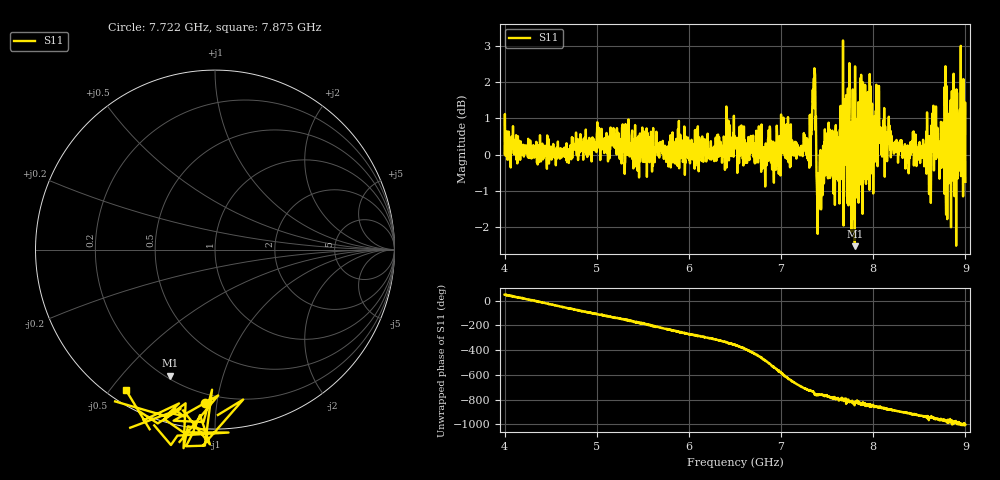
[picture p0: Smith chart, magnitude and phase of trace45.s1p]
! Created with skrf 1.8.0 (http://scikit-rf.org).
# Hz S RI R 50.0
!freq ReS11 ImS11
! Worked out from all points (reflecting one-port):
!   1601 points, 4 GHz to 9 GHz, reference 50 ohm
!   lowest |S11| = -2.5 dB at 7.8 GHz (marker M1), VSWR 6.88, Z = 10.8 - j34.2 ohm
!   phase of S11 starts at 50 deg and turns -1052 deg over the sweep
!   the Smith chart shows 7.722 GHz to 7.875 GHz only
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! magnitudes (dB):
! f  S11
! 4 GHz  0.0
! 4.625 GHz  0.1
! 5.166 GHz  0.6
! 5.25 GHz  -0.1
! 5.875 GHz  -0.1
! 6.5 GHz  0.3
! 6.806 GHz  0.0
! 7.025 GHz  1.0
! 7.125 GHz  0.1
! 7.294 GHz  -0.2
! 7.353 GHz  1.9
! 7.409 GHz  -1.4
! 7.5 GHz  -0.3
! 7.609 GHz  0.0
! 7.669 GHz  0.5
! 7.75 GHz  -0.7
! 7.775 GHz  0.7
! 7.8 GHz  -2.5
! 7.847 GHz  0.8
! 7.962 GHz  2.2
! 8 GHz  -1.1
! 8.053 GHz  0.5
! 8.375 GHz  0.2
! 8.603 GHz  -0.5
! 8.656 GHz  1.2
! 8.806 GHz  -0.1
! 8.959 GHz  1.7
! 9 GHz  -0.8
